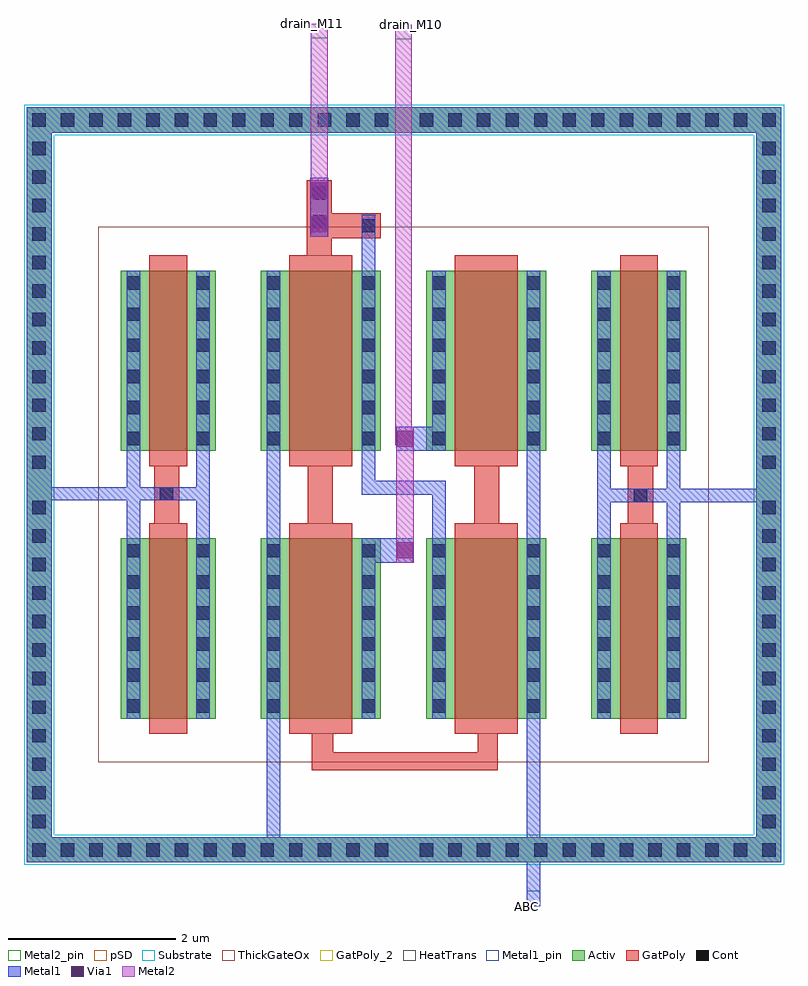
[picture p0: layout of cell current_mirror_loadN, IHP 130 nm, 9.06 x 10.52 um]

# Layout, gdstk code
from math import pi, radians
import gdstk
lib = gdstk.Library(unit=1e-6, precision=5e-09)
def R(c, l, rs):  # rectangles x0, y0, x1, y1
    for r in rs: c.add(gdstk.rectangle(r[:2], r[2:], *l))
def A(c, l, x, y, w, h, nx, ny, dx, dy):  # array of equal rectangles
    R(c, l, [(x+i*dx, y+j*dy, x+i*dx+w, y+j*dy+h) for i in range(nx) for j in range(ny)])
def P(c, l, *ps):  # polygons
    for p in ps: c.add(gdstk.Polygon(p, *l))
Activ = (1, 0)
GatPoly = (5, 0)
GatPoly_2 = (5, 2)
Cont = (6, 0)
Metal1 = (8, 0)
Metal1_pin = (8, 2)
Metal2 = (10, 0)
Metal2_pin = (10, 2)
pSD = (14, 0)
Via1 = (19, 0)
Substrate = (40, 0)
ThickGateOx = (44, 0)
HeatTrans = (51, 0)

nmoshv_3 = lib.new_cell('nmosHV$3')
R(nmoshv_3, Activ, [(0,0,0.3,0.3), (0,0,1.43,2.15), (1.13,0,1.43,0.3)])
R(nmoshv_3, GatPoly, [(0.34,-0.18,1.09,2.33)])
R(nmoshv_3, GatPoly_2, [(0.34,-0.18,1.09,2.33)])
A(nmoshv_3, Cont, 0.07, 0.07, 0.16, 0.16, 1, 6, 0, 0.37)
A(nmoshv_3, Cont, 1.2, 0.07, 0.16, 0.16, 1, 6, 0, 0.37)
R(nmoshv_3, Metal1, [(0.07,0,0.23,2.15), (1.2,0,1.36,2.15)])
R(nmoshv_3, Metal1_pin, [(0.07,0,0.23,2.15), (1.2,0,1.36,2.15)])
R(nmoshv_3, ThickGateOx, [(-0.27,-0.52,1.7,2.67)])
R(nmoshv_3, HeatTrans, [(0.34,-0.18,1.09,2.33)])
nmoshv_3.add(gdstk.Label('nmosHV', (0.715,1.075), layer=63, texttype=0))
nmoshv_3.add(gdstk.Label('nmosHV', (0.715,1.075), layer=51, texttype=0))

nmoshv_1 = lib.new_cell('nmosHV$1')
R(nmoshv_1, Activ, [(0,0,0.3,0.3), (0,0,1.13,2.15), (0.83,0,1.13,0.3)])
R(nmoshv_1, GatPoly, [(0.34,-0.18,0.79,2.33)])
R(nmoshv_1, GatPoly_2, [(0.34,-0.18,0.79,2.33)])
A(nmoshv_1, Cont, 0.07, 0.07, 0.16, 0.16, 1, 6, 0, 0.37)
A(nmoshv_1, Cont, 0.9, 0.07, 0.16, 0.16, 1, 6, 0, 0.37)
R(nmoshv_1, Metal1, [(0.07,0,0.23,2.15), (0.9,0,1.06,2.15)])
R(nmoshv_1, Metal1_pin, [(0.07,0,0.23,2.15), (0.9,0,1.06,2.15)])
R(nmoshv_1, ThickGateOx, [(-0.27,-0.52,1.4,2.67)])
R(nmoshv_1, HeatTrans, [(0.34,-0.18,0.79,2.33)])
nmoshv_1.add(gdstk.Label('nmosHV', (0.565,1.075), layer=63, texttype=0))
nmoshv_1.add(gdstk.Label('nmosHV', (0.565,1.075), layer=51, texttype=0))

guard_ring_3 = lib.new_cell('guard_ring$3')
R(guard_ring_3, Activ, [(-4.5,-4.2,-4.2,4.2), (4.2,-4.2,4.5,4.2), (-4.5,4.2,4.5,4.5)])
P(guard_ring_3, Activ, [(-4.5,-4.5),(-4.5,4.2),(-4.2,4.2),(-4.2,-4.2),(4.2,-4.2),(4.2,4.2),(-4.5,4.2),(-4.5,4.5),(4.5,4.5),(4.5,-4.5)])
A(guard_ring_3, Cont, -4.43, -4.43, 0.16, 0.16, 13, 2, 0.34, 8.7)
A(guard_ring_3, Cont, 0.19, -4.43, 0.16, 0.16, 13, 2, 0.34, 8.7)
A(guard_ring_3, Cont, -4.43, -4.09, 0.16, 0.16, 1, 12, 0, 0.34)
A(guard_ring_3, Cont, 4.27, -4.09, 0.16, 0.16, 1, 12, 0, 0.34)
A(guard_ring_3, Cont, -4.43, 0.19, 0.16, 0.16, 1, 12, 0, 0.34)
A(guard_ring_3, Cont, 4.27, 0.19, 0.16, 0.16, 1, 12, 0, 0.34)
R(guard_ring_3, Metal1, [(-4.5,-4.5,4.5,-4.2), (-4.5,-4.2,-4.2,4.2), (4.2,-4.2,4.5,4.2), (-4.5,4.2,4.5,4.5)])
R(guard_ring_3, pSD, [(-4.53,-4.17,-4.17,4.17), (4.17,-4.17,4.53,4.17), (-4.53,4.17,4.53,4.53)])
P(guard_ring_3, pSD, [(-4.53,-4.53),(-4.53,4.17),(-4.17,4.17),(-4.17,-4.17),(4.17,-4.17),(4.17,4.17),(-4.53,4.17),(-4.53,4.53),(4.53,4.53),(4.53,-4.53)])
R(guard_ring_3, Substrate, [(-4.53,-4.17,-4.17,4.17), (4.17,-4.17,4.53,4.17), (-4.53,4.17,4.53,4.53)])
P(guard_ring_3, Substrate, [(-4.53,-4.53),(-4.53,4.17),(-4.17,4.17),(-4.17,-4.17),(4.17,-4.17),(4.17,4.17),(-4.53,4.17),(-4.53,4.53),(4.53,4.53),(4.53,-4.53)])
guard_ring_3.add(gdstk.Label('sub!', (0,-4.35), layer=63, texttype=0))

via_stack = lib.new_cell('via_stack')
R(via_stack, Metal1, [(-0.145,-0.105,0.145,0.105)])
R(via_stack, Metal2, [(-0.145,-0.1,0.145,0.1)])
R(via_stack, Via1, [(-0.095,-0.095,0.095,0.095)])

via_stack_5 = lib.new_cell('via_stack$5')
R(via_stack_5, GatPoly, [(-0.15,-0.15,0.15,0.15)])
R(via_stack_5, Cont, [(-0.08,-0.08,0.08,0.08)])
R(via_stack_5, Metal1, [(-0.13,-0.08,0.13,0.08)])

via_stack_3 = lib.new_cell('via_stack$3')
R(via_stack_3, GatPoly, [(-0.32,-0.15,0.32,0.15)])
R(via_stack_3, Cont, [(-0.25,-0.08,-0.09,0.08), (0.09,-0.08,0.25,0.08)])
R(via_stack_3, Metal1, [(-0.35,-0.105,0.35,0.105)])
R(via_stack_3, Metal2, [(-0.35,-0.1,0.35,0.1)])
R(via_stack_3, Via1, [(-0.3,-0.095,-0.11,0.095), (0.11,-0.095,0.3,0.095)])

current_mirror_loadn = lib.new_cell('current_mirror_loadN')
R(current_mirror_loadn, GatPoly, [(-0.52,-3.135,-0.265,-1.875), (-0.52,-3.135,1.7,-2.92), (1.46,-3.04,1.7,-1.975), (-0.57,-1.03,-0.27,0.62), (1.415,-1.015,1.715,1.19), (3.25,-0.37,3.55,0.29), (-2.4,-0.35,-2.1,0.31), (3.25,-0.01,3.55,0.67), (-2.4,0.01,-2.1,0.69), (-0.58,2.2,-0.28,3.895), (-0.58,3.205,0.305,3.505)])
R(current_mirror_loadn, Metal1, [(2.045,-4.755,2.205,2.82), (-1.055,-4.235,-0.895,-2.37), (0.075,-0.66,0.695,-0.37), (-2.725,-0.6,-2.565,0.9), (0.915,-0.6,1.075,0.315), (2.885,-0.6,3.045,0.9), (3.715,-0.6,3.875,0.9), (-1.895,-0.53,-1.735,0.97), (-1.055,-0.52,-0.895,0.82), (2.885,0.06,3.53,0.22), (3.27,0.06,5.08,0.22), (-3.92,0.08,-1.735,0.24), (0.075,0.15,0.235,0.895), (0.075,0.15,1.075,0.315), (0.49,0.67,1.075,0.96), (0.075,2.82,0.235,3.325)])
R(current_mirror_loadn, Metal1_pin, [(2.045,-4.755,2.205,-4.57)])
R(current_mirror_loadn, Metal2, [(0.49,-0.565,0.695,0.96), (0.475,0.735,0.675,5.75), (-0.53,3.225,-0.33,5.76)])
R(current_mirror_loadn, Metal2_pin, [(0.475,5.575,0.675,5.75), (-0.53,5.59,-0.33,5.76)])
current_mirror_loadn.add(gdstk.Reference(nmoshv_3, (0.845,0.67)))
current_mirror_loadn.add(gdstk.Reference(nmoshv_3, (-1.125,0.67)))
current_mirror_loadn.add(gdstk.Reference(nmoshv_1, (2.815,0.67)))
current_mirror_loadn.add(gdstk.Reference(nmoshv_1, (2.815,-2.52)))
current_mirror_loadn.add(gdstk.Reference(nmoshv_1, (-2.795,0.67)))
current_mirror_loadn.add(gdstk.Reference(nmoshv_1, (-2.795,-2.52)))
current_mirror_loadn.add(gdstk.Reference(guard_ring_3, (0.58,0.265)))
current_mirror_loadn.add(gdstk.Reference(nmoshv_3, (-1.125,-2.52)))
current_mirror_loadn.add(gdstk.Reference(via_stack, (0.59,-0.515), rotation=3*pi/2))
current_mirror_loadn.add(gdstk.Reference(nmoshv_3, (0.845,-2.52)))
current_mirror_loadn.add(gdstk.Reference(via_stack_5, (3.4,0.14)))
current_mirror_loadn.add(gdstk.Reference(via_stack_5, (-2.25,0.16)))
current_mirror_loadn.add(gdstk.Reference(via_stack, (0.595,0.815), rotation=3*pi/2))
current_mirror_loadn.add(gdstk.Reference(via_stack_5, (0.155,3.355), rotation=3*pi/2))
current_mirror_loadn.add(gdstk.Reference(via_stack_3, (-0.43,3.575), rotation=3*pi/2))
current_mirror_loadn.add(gdstk.Label('ABC', (2.045,-4.765), layer=8, texttype=0))
current_mirror_loadn.add(gdstk.Label('drain_M11', (-0.51,5.76), layer=10, texttype=0))
current_mirror_loadn.add(gdstk.Label('drain_M10', (0.675,5.755), layer=10, texttype=0))
current_mirror_loadn.add(gdstk.Label('drain_M10', (2.05,-4.8), layer=10, texttype=0))

lib.write_gds('current_mirror_loadN.gds')
